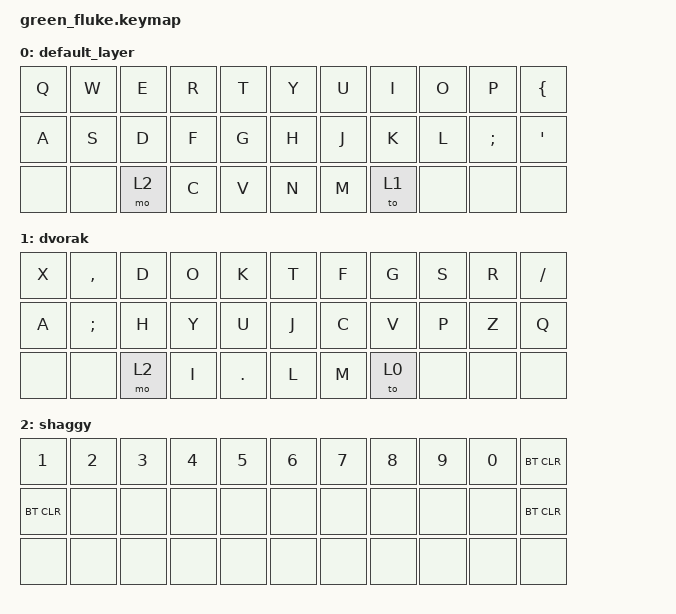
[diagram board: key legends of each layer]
#include <behaviors.dtsi>
#include <dt-bindings/zmk/keys.h>
#include <dt-bindings/zmk/bt.h>

/ {
    keymap {
        compatible = "zmk,keymap";

        default_layer {
            bindings = <
                &kp Q    &kp W    &kp E    &kp R    &kp T    &kp Y    &kp U    &kp I    &kp O    &kp P    &kp LBRC
                &kp A    &kp S    &kp D    &kp F    &kp G    &kp H    &kp J    &kp K    &kp L    &kp SEMI    &kp SQT
                &none    &none    &mo 2    &kp C    &kp V    &kp N    &kp M    &to 1	&none	&none	&none
            >;
        };
        
        dvorak {
            bindings = <
                &kp X    &kp COMMA    &kp D    &kp O    &kp K    &kp T    &kp F    &kp G    &kp S    &kp R    &kp FSLH
                &kp A    &kp SEMI    &kp H    &kp Y    &kp U    &kp J    &kp C    &kp V    &kp P    &kp Z    &kp Q
                &none    &none    &mo 2    &kp I    &kp DOT    &kp L    &kp M    &to 0	&none	&none	&none
            >;
        };
        
        shaggy {
            bindings = <
                &kp N1    &kp N2    &kp N3    &kp N4    &kp N5    &kp N6    &kp N7    &kp N8  &kp N9     &kp N0    &bt BT_CLR
                &bt BT_CLR    &none    &none    &none    &none    &none    &none    &none    &none    &none    &bt BT_CLR    
                &none    &none    &none    &none    &none    &none    &none    &none	&none	&none	&none
            >;
        };
        
        
    };
 };
